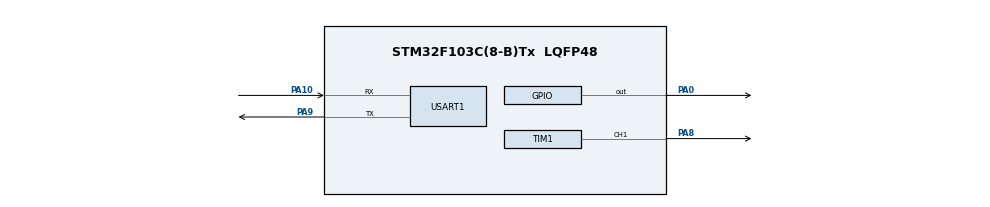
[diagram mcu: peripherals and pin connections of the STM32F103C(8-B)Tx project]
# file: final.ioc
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Mcu.Family=STM32F1
Mcu.Name=STM32F103C(8-B)Tx
Mcu.Package=LQFP48
NVIC.PriorityGroup=NVIC_PRIORITYGROUP_4
NVIC.TIM2_IRQn=true\:0\:0\:false\:false\:true\:true\:true\:true
NVIC.USART1_IRQn=true\:0\:0\:false\:false\:true\:true\:true\:true
PA0-WKUP.Signal=GPIO_Output
PA10.Mode=Asynchronous
PA10.Signal=USART1_RX
PA13.Mode=Serial_Wire
PA13.Signal=SYS_JTMS-SWDIO
PA14.Mode=Serial_Wire
PA14.Signal=SYS_JTCK-SWCLK
PA8.Signal=S_TIM1_CH1
PA9.Mode=Asynchronous
PA9.Signal=USART1_TX
PD0-OSC_IN.Mode=HSE-External-Oscillator
PD0-OSC_IN.Signal=RCC_OSC_IN
PD1-OSC_OUT.Mode=HSE-External-Oscillator
PD1-OSC_OUT.Signal=RCC_OSC_OUT
ProjectManager.HeapSize=0x200
ProjectManager.StackSize=0x400
ProjectManager.TargetToolchain=STM32CubeIDE
RCC.APB1Freq_Value=8000000
RCC.APB2Freq_Value=8000000
SH.S_TIM1_CH1.0=TIM1_CH1,PWM Generation1 CH1
TIM1.Channel-PWM\ Generation1\ CH1=TIM_CHANNEL_1
TIM1.Period=1000 - 1
TIM1.Prescaler=80 - 1
TIM2.Prescaler=8000 - 1
USART1.VirtualMode=VM_ASYNC
VP_TIM1_VS_ClockSourceINT.Mode=Internal
VP_TIM2_VS_ClockSourceINT.Mode=Internal
board=custom

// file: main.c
/* USER CODE BEGIN Header */
/**
  ******************************************************************************
  * @file           : main.c
  * @brief          : Main program body
  ******************************************************************************
  * @attention
  *
  * Copyright (c) 2025 STMicroelectronics.
  * All rights reserved.
  *
  * This software is licensed under terms that can be found in the LICENSE file
  * in the root directory of this software component.
  * If no LICENSE file comes with this software, it is provided AS-IS.
  *
  ******************************************************************************
  */
/* USER CODE END Header */
#include "main.h"

TIM_HandleTypeDef htim1;
TIM_HandleTypeDef htim2;

UART_HandleTypeDef huart1;

/* USER CODE BEGIN PV */
uint8_t rx_data;
uint8_t mode = 0;
uint8_t current_mode = 0;
uint16_t count = 0;

#define MODE1_ARR_VALUE    5000 - 1
#define MODE2_ARR_VALUE    10000 - 1

/* USER CODE END PV */

void SystemClock_Config(void);
static void MX_GPIO_Init(void);
static void MX_TIM1_Init(void);
static void MX_TIM2_Init(void);
static void MX_USART1_UART_Init(void);
/* USER CODE BEGIN PFP */
void Handle_Mode_Change(uint8_t new_mode);
void Set_Timer_ARR_Value(uint32_t arr_value);
/* USER CODE END PFP */

int main(void)
{

  /* MCU Configuration--------------------------------------------------------*/

  /* Reset of all peripherals, Initializes the Flash interface and the Systick. */
  HAL_Init();

  /* Configure the system clock */
  SystemClock_Config();

  /* Initialize all configured peripherals */
  MX_GPIO_Init();
  MX_TIM1_Init();
  MX_TIM2_Init();
  MX_USART1_UART_Init();
  /* USER CODE BEGIN 2 */
  HAL_TIM_Base_Start_IT(&htim2);
  HAL_UART_Receive_IT(&huart1,&rx_data,1);
  HAL_TIM_PWM_Start(&htim1, TIM_CHANNEL_1);
  /* USER CODE END 2 */

  /* Infinite loop */
  while (1)
  {

    /* USER CODE BEGIN 3 */
	    if(current_mode != mode)
	    {
	      Handle_Mode_Change(mode);
	      current_mode = mode;
	    }

	    switch(mode)
	    {
	      case 1:
	        HAL_Delay(100);
	        break;

	      case 2:
	        HAL_Delay(100);
	        break;

	      case 3:
	    	 __HAL_TIM_SET_AUTORELOAD(&htim1, 999);
	    	 HAL_TIM_PWM_Start(&htim1, TIM_CHANNEL_1);

	    	__HAL_TIM_SET_COMPARE(&htim1, TIM_CHANNEL_1, count);
	    	count++;
	    	if(count == 999) count = 0;
	    	HAL_Delay(5);
	        break;

	      default:
	        HAL_TIM_Base_Stop_IT(&htim2);
	        HAL_TIM_PWM_Stop(&htim1, TIM_CHANNEL_1);
	        HAL_GPIO_WritePin(GPIOA, GPIO_PIN_0, GPIO_PIN_RESET);
	        HAL_Delay(100);
	        break;
	    }

  }
  /* USER CODE END 3 */
}

void SystemClock_Config(void)
{
  RCC_OscInitTypeDef RCC_OscInitStruct = {0};
  RCC_ClkInitTypeDef RCC_ClkInitStruct = {0};

  /** Initializes the RCC Oscillators according to the specified parameters
  * in the RCC_OscInitTypeDef structure.
  */
  RCC_OscInitStruct.OscillatorType = RCC_OSCILLATORTYPE_HSI;
  RCC_OscInitStruct.HSIState = RCC_HSI_ON;
  RCC_OscInitStruct.HSICalibrationValue = RCC_HSICALIBRATION_DEFAULT;
  RCC_OscInitStruct.PLL.PLLState = RCC_PLL_NONE;
  if (HAL_RCC_OscConfig(&RCC_OscInitStruct) != HAL_OK)
  {
    Error_Handler();
  }

  /** Initializes the CPU, AHB and APB buses clocks
  */
  RCC_ClkInitStruct.ClockType = RCC_CLOCKTYPE_HCLK|RCC_CLOCKTYPE_SYSCLK
                              |RCC_CLOCKTYPE_PCLK1|RCC_CLOCKTYPE_PCLK2;
  RCC_ClkInitStruct.SYSCLKSource = RCC_SYSCLKSOURCE_HSI;
  RCC_ClkInitStruct.AHBCLKDivider = RCC_SYSCLK_DIV1;
  RCC_ClkInitStruct.APB1CLKDivider = RCC_HCLK_DIV1;
  RCC_ClkInitStruct.APB2CLKDivider = RCC_HCLK_DIV1;

  if (HAL_RCC_ClockConfig(&RCC_ClkInitStruct, FLASH_LATENCY_0) != HAL_OK)
  {
    Error_Handler();
  }
}

static void MX_TIM1_Init(void)
{

  TIM_ClockConfigTypeDef sClockSourceConfig = {0};
  TIM_MasterConfigTypeDef sMasterConfig = {0};
  TIM_OC_InitTypeDef sConfigOC = {0};
  TIM_BreakDeadTimeConfigTypeDef sBreakDeadTimeConfig = {0};

  htim1.Instance = TIM1;
  htim1.Init.Prescaler = 80 - 1;
  htim1.Init.CounterMode = TIM_COUNTERMODE_UP;
  htim1.Init.Period = 1000 - 1;
  htim1.Init.ClockDivision = TIM_CLOCKDIVISION_DIV1;
  htim1.Init.RepetitionCounter = 0;
  htim1.Init.AutoReloadPreload = TIM_AUTORELOAD_PRELOAD_DISABLE;
  if (HAL_TIM_Base_Init(&htim1) != HAL_OK)
  {
    Error_Handler();
  }
  sClockSourceConfig.ClockSource = TIM_CLOCKSOURCE_INTERNAL;
  if (HAL_TIM_ConfigClockSource(&htim1, &sClockSourceConfig) != HAL_OK)
  {
    Error_Handler();
  }
  if (HAL_TIM_PWM_Init(&htim1) != HAL_OK)
  {
    Error_Handler();
  }
  sMasterConfig.MasterOutputTrigger = TIM_TRGO_RESET;
  sMasterConfig.MasterSlaveMode = TIM_MASTERSLAVEMODE_DISABLE;
  if (HAL_TIMEx_MasterConfigSynchronization(&htim1, &sMasterConfig) != HAL_OK)
  {
    Error_Handler();
  }
  sConfigOC.OCMode = TIM_OCMODE_PWM1;
  sConfigOC.Pulse = 0;
  sConfigOC.OCPolarity = TIM_OCPOLARITY_HIGH;
  sConfigOC.OCNPolarity = TIM_OCNPOLARITY_HIGH;
  sConfigOC.OCFastMode = TIM_OCFAST_DISABLE;
  sConfigOC.OCIdleState = TIM_OCIDLESTATE_RESET;
  sConfigOC.OCNIdleState = TIM_OCNIDLESTATE_RESET;
  if (HAL_TIM_PWM_ConfigChannel(&htim1, &sConfigOC, TIM_CHANNEL_1) != HAL_OK)
  {
    Error_Handler();
  }
  sBreakDeadTimeConfig.OffStateRunMode = TIM_OSSR_DISABLE;
  sBreakDeadTimeConfig.OffStateIDLEMode = TIM_OSSI_DISABLE;
  sBreakDeadTimeConfig.LockLevel = TIM_LOCKLEVEL_OFF;
  sBreakDeadTimeConfig.DeadTime = 0;
  sBreakDeadTimeConfig.BreakState = TIM_BREAK_DISABLE;
  sBreakDeadTimeConfig.BreakPolarity = TIM_BREAKPOLARITY_HIGH;
  sBreakDeadTimeConfig.AutomaticOutput = TIM_AUTOMATICOUTPUT_DISABLE;
  if (HAL_TIMEx_ConfigBreakDeadTime(&htim1, &sBreakDeadTimeConfig) != HAL_OK)
  {
    Error_Handler();
  }
  HAL_TIM_MspPostInit(&htim1);

}

static void MX_TIM2_Init(void)
{

  TIM_ClockConfigTypeDef sClockSourceConfig = {0};
  TIM_MasterConfigTypeDef sMasterConfig = {0};

  htim2.Instance = TIM2;
  htim2.Init.Prescaler = 8000 - 1;
  htim2.Init.CounterMode = TIM_COUNTERMODE_UP;
  htim2.Init.Period = 5000 - 1;
  htim2.Init.ClockDivision = TIM_CLOCKDIVISION_DIV1;
  htim2.Init.AutoReloadPreload = TIM_AUTORELOAD_PRELOAD_DISABLE;
  if (HAL_TIM_Base_Init(&htim2) != HAL_OK)
  {
    Error_Handler();
  }
  sClockSourceConfig.ClockSource = TIM_CLOCKSOURCE_INTERNAL;
  if (HAL_TIM_ConfigClockSource(&htim2, &sClockSourceConfig) != HAL_OK)
  {
    Error_Handler();
  }
  sMasterConfig.MasterOutputTrigger = TIM_TRGO_RESET;
  sMasterConfig.MasterSlaveMode = TIM_MASTERSLAVEMODE_DISABLE;
  if (HAL_TIMEx_MasterConfigSynchronization(&htim2, &sMasterConfig) != HAL_OK)
  {
    Error_Handler();
  }

}

static void MX_USART1_UART_Init(void)
{

  huart1.Instance = USART1;
  huart1.Init.BaudRate = 9600;
  huart1.Init.WordLength = UART_WORDLENGTH_8B;
  huart1.Init.StopBits = UART_STOPBITS_1;
  huart1.Init.Parity = UART_PARITY_NONE;
  huart1.Init.Mode = UART_MODE_TX_RX;
  huart1.Init.HwFlowCtl = UART_HWCONTROL_NONE;
  huart1.Init.OverSampling = UART_OVERSAMPLING_16;
  if (HAL_UART_Init(&huart1) != HAL_OK)
  {
    Error_Handler();
  }

}

static void MX_GPIO_Init(void)
{
  GPIO_InitTypeDef GPIO_InitStruct = {0};

  /* GPIO Ports Clock Enable */
  __HAL_RCC_GPIOD_CLK_ENABLE();
  __HAL_RCC_GPIOA_CLK_ENABLE();

  /*Configure GPIO pin Output Level */
  HAL_GPIO_WritePin(GPIOA, GPIO_PIN_0, GPIO_PIN_RESET);

  /*Configure GPIO pin : PA0 */
  GPIO_InitStruct.Pin = GPIO_PIN_0;
  GPIO_InitStruct.Mode = GPIO_MODE_OUTPUT_PP;
  GPIO_InitStruct.Pull = GPIO_NOPULL;
  GPIO_InitStruct.Speed = GPIO_SPEED_FREQ_LOW;
  HAL_GPIO_Init(GPIOA, &GPIO_InitStruct);

}

/* USER CODE BEGIN 4 */
void HAL_TIM_PeriodElapsedCallback(TIM_HandleTypeDef *htim){
	if(htim ->Instance == TIM2){
		    if(mode == 1 || mode == 2)
		    {
		      HAL_GPIO_TogglePin(GPIOA, GPIO_PIN_0);
		    }
	}
}

void HAL_UART_RxCpltCallback(UART_HandleTypeDef *huart)
{
  if(huart->Instance == USART1)
  {
    switch(rx_data)
    {
      case '1':
        mode = 1;
        break;
      case '2':
        mode = 2;
        break;
      case '3':
        mode = 3;
        break;
      default:
        break;
    }

    HAL_UART_Receive_IT(&huart1, &rx_data, 1);
  }
}

void Set_Timer_ARR_Value(uint32_t arr_value)
{
  __HAL_TIM_SET_AUTORELOAD(&htim2, arr_value);

  __HAL_TIM_SET_COUNTER(&htim2, 0);
}

void Handle_Mode_Change(uint8_t new_mode)
{
  HAL_TIM_Base_Stop_IT(&htim2);
  HAL_TIM_PWM_Stop(&htim1, TIM_CHANNEL_1);

  switch(new_mode)
  {
    case 1:
      Set_Timer_ARR_Value(MODE1_ARR_VALUE);

      HAL_TIM_Base_Start_IT(&htim2);

      HAL_GPIO_WritePin(GPIOA, GPIO_PIN_0, GPIO_PIN_RESET);

      HAL_UART_Transmit(&huart1, (uint8_t*)"Mode 1: LED Blink 5s\r\n", 22, 1000);
      break;

    case 2:
      Set_Timer_ARR_Value(MODE2_ARR_VALUE);

      HAL_TIM_Base_Start_IT(&htim2);

      HAL_GPIO_WritePin(GPIOA, GPIO_PIN_0, GPIO_PIN_RESET);

      HAL_UART_Transmit(&huart1, (uint8_t*)"Mode 2: LED Blink 10s\r\n", 23, 1000);
      break;

    case 3:
      __HAL_TIM_SET_AUTORELOAD(&htim1, 999);

      count = 950;

      HAL_TIM_PWM_Start(&htim1, TIM_CHANNEL_1);

      HAL_UART_Transmit(&huart1, (uint8_t*)"Mode 3: PWM Dimming\r\n", 21, 1000);
      break;

    default:
      HAL_GPIO_WritePin(GPIOA, GPIO_PIN_0, GPIO_PIN_RESET);
      HAL_UART_Transmit(&huart1, (uint8_t*)"Mode 0: All Off\r\n", 17, 1000);
      break;
  }
}

/* USER CODE END 4 */

void Error_Handler(void)
{
  __disable_irq();
  while (1)
  {
  }
}
